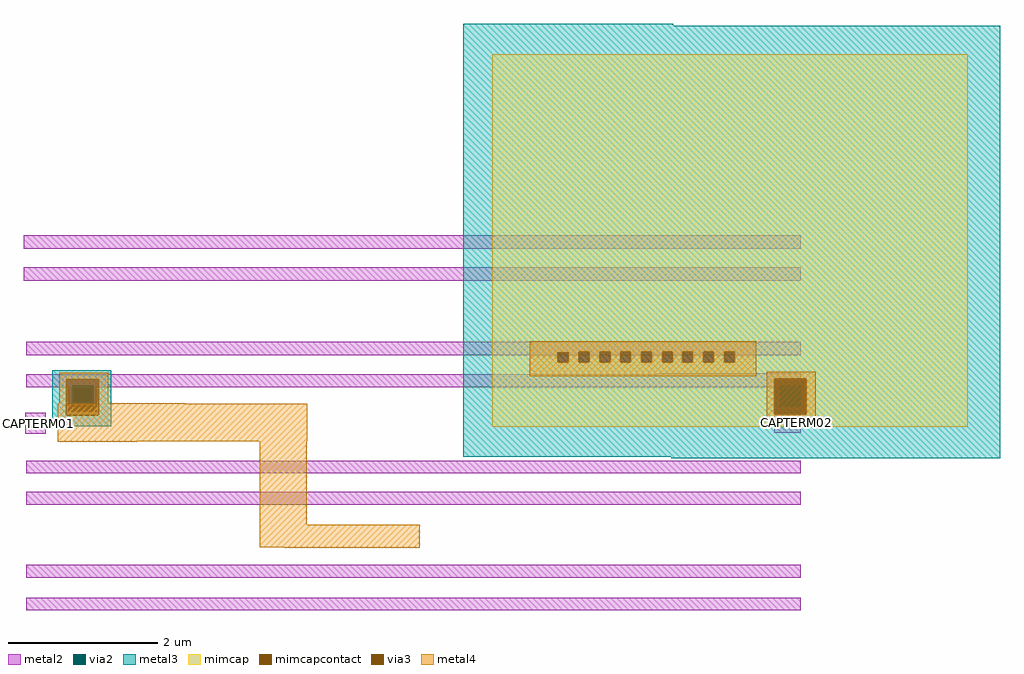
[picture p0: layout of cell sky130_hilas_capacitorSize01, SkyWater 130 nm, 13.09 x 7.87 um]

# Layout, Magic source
magic
tech sky130A
<< metal2 >>
rect 0 485 1042 503
rect 0 442 1042 460
rect 3 342 1042 360
rect 851 317 1042 318
rect 3 299 1042 317
rect 2 237 29 265
rect 1006 238 1042 266
rect 3 184 1042 201
rect 3 142 1042 159
rect 3 44 1042 61
rect 3 0 1042 17
<< metal3 >>
rect 823 212 1019 287
<< metal4 >>
rect 116 277 217 278
rect 45 227 380 277
rect 45 226 152 227
rect 316 115 379 227
rect 316 85 531 115
rect 349 84 531 85
use sky130_hilas_CapModule02  sky130_hilas_CapModule02_0
transform 1 0 589 0 1 204
box 0 0 720 583
use sky130_hilas_m22m4  sky130_hilas_m22m4_0
transform 1 0 38 0 1 247
box 0 0 79 75
use sky130_hilas_m22m4  sky130_hilas_m22m4_1
transform 1 0 987 0 1 248
box 0 0 79 75
<< labels >>
rlabel metal2 2 237 9 265 0 CAPTERM01
port 2 nsew analog default
rlabel metal2 1030 238 1042 266 0 CAPTERM02
port 1 nsew analog default
<< properties >>
string LEFsite unithd
string LEFclass CORE
string LEFsymmetry X Y R90
<< end >>

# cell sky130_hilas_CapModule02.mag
magic
tech sky130A
<< metal3 >>
rect 0 580 282 583
rect 0 2 720 580
rect 279 0 720 2
<< mimcap >>
rect 39 143 677 542
rect 39 142 155 143
rect 39 129 127 142
rect 141 129 155 142
rect 169 129 183 143
rect 197 129 211 143
rect 225 129 239 143
rect 253 129 267 143
rect 281 129 294 143
rect 308 129 322 143
rect 336 129 350 143
rect 364 129 677 143
rect 39 42 677 129
<< mimcapcontact >>
rect 127 129 141 142
rect 155 129 169 143
rect 183 129 197 143
rect 211 129 225 143
rect 239 129 253 143
rect 267 129 281 143
rect 294 129 308 143
rect 322 129 336 143
rect 350 129 364 143
<< metal4 >>
rect 89 143 393 157
rect 89 142 155 143
rect 89 129 127 142
rect 141 129 155 142
rect 169 129 183 143
rect 197 129 211 143
rect 225 129 239 143
rect 253 129 267 143
rect 281 129 294 143
rect 308 129 322 143
rect 336 129 350 143
rect 364 129 393 143
rect 89 110 393 129
<< properties >>
string LEFsite unithd
string LEFclass CORE
string LEFsymmetry X Y R90
<< end >>

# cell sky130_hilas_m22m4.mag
magic
tech sky130A
<< metal2 >>
rect 22 54 59 60
rect 22 26 27 54
rect 55 26 59 54
rect 22 20 59 26
<< via2 >>
rect 27 26 55 54
<< metal3 >>
rect 0 63 79 75
rect 0 15 19 63
rect 62 15 79 63
rect 0 0 79 15
<< via3 >>
rect 19 54 62 63
rect 19 26 27 54
rect 27 26 55 54
rect 55 26 62 54
rect 19 15 62 26
<< metal4 >>
rect 9 63 75 72
rect 9 15 19 63
rect 62 15 75 63
rect 9 6 75 15
<< properties >>
string LEFsite unithd
string LEFclass CORE
string LEFsymmetry X Y R90
<< end >>
